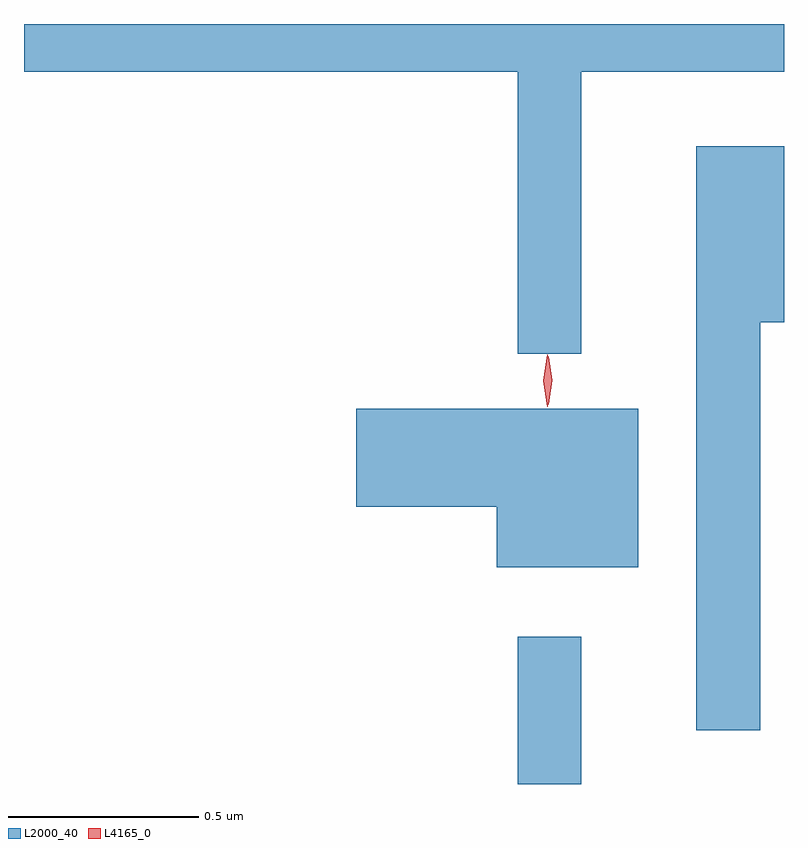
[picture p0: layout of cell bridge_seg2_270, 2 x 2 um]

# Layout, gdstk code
import gdstk
lib = gdstk.Library(unit=1e-6, precision=1e-09)
def R(c, l, rs):  # rectangles x0, y0, x1, y1
    for r in rs: c.add(gdstk.rectangle(r[:2], r[2:], *l))
def P(c, l, *ps):  # polygons
    for p in ps: c.add(gdstk.Polygon(p, *l))
L2000_40 = (2000, 40)
L4165_0 = (4165, 0)

bridge_seg2_270 = lib.new_cell('bridge_seg2_270')
R(bridge_seg2_270, L2000_40, [(482.861,1064.201,483.029,1064.588)])
P(bridge_seg2_270, L2000_40, [(483.029,1066.076),(483.562,1066.076),(483.562,1066.201),(481.562,1066.201),(481.562,1066.076),(482.861,1066.076),(482.861,1065.333),(483.029,1065.333)],
  [(483.499,1065.416),(483.562,1065.416),(483.562,1065.879),(483.331,1065.879),(483.331,1064.343),(483.499,1064.343)],
  [(483.179,1065.189),(482.436,1065.189),(482.436,1064.931),(482.806,1064.931),(482.806,1064.771),(483.179,1064.771)])
P(bridge_seg2_270, L4165_0, [(482.939,1065.194),(482.939,1065.194),(482.929,1065.262),(482.939,1065.33),(482.939,1065.33),(482.94,1065.33),(482.949,1065.262),(482.94,1065.194)],
  [(482.942,1065.2),(482.942,1065.2),(482.932,1065.264),(482.942,1065.326),(482.942,1065.327),(482.943,1065.326),(482.952,1065.264),(482.943,1065.2)])

lib.write_gds('bridge_seg2_270.gds')
